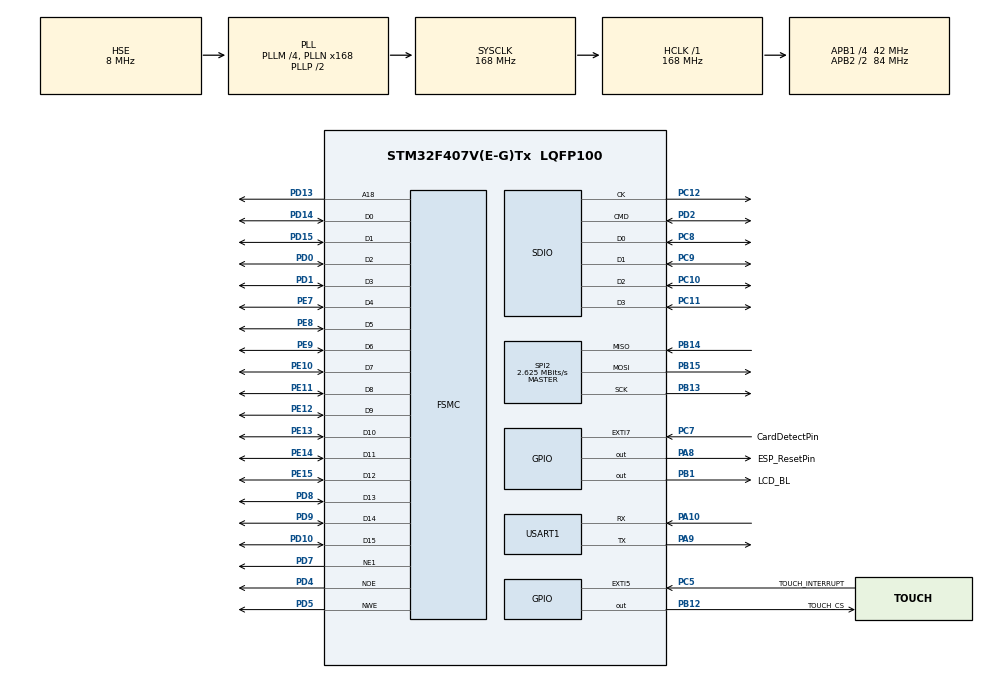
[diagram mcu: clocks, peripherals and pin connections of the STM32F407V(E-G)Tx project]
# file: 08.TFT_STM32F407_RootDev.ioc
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FATFS._FS_EXFAT=1
FATFS._MAX_SS=4096
FATFS._USE_CHMOD=1
FATFS._USE_EXPAND=1
FATFS._USE_FORWARD=1
FATFS._USE_LABEL=1
FATFS._USE_LFN=1
FSMC.AddressSetupTime1=1
FSMC.BusTurnAroundDuration1=0
FSMC.DataSetupTime1=5
Mcu.Family=STM32F4
Mcu.Name=STM32F407V(E-G)Tx
Mcu.Package=LQFP100
NVIC.EXTI9_5_IRQn=true\:0\:0\:true\:false\:true\:true\:true\:true
NVIC.PriorityGroup=NVIC_PRIORITYGROUP_4
NVIC.SDIO_IRQn=true\:0\:0\:false\:false\:true\:true\:true\:true
NVIC.TIM3_IRQn=true\:0\:0\:false\:false\:true\:true\:true\:true
NVIC.USART1_IRQn=true\:0\:0\:true\:false\:true\:true\:true\:true
PA10.Mode=Asynchronous
PA10.Signal=USART1_RX
PA13.Mode=JTAG_4_pins
PA13.Signal=SYS_JTMS-SWDIO
PA14.Mode=JTAG_4_pins
PA14.Signal=SYS_JTCK-SWCLK
PA15.Mode=JTAG_4_pins
PA15.Signal=SYS_JTDI
PA8.GPIO_Label=ESP_ResetPin
PA8.GPIO_PuPd=GPIO_PULLUP
PA8.Signal=GPIO_Output
PA9.Mode=Asynchronous
PA9.Signal=USART1_TX
PB1.GPIO_Label=LCD_BL
PB1.PinState=GPIO_PIN_SET
PB1.Signal=GPIO_Output
PB12.GPIO_Label=TOUCH_CS
PB12.PinState=GPIO_PIN_SET
PB12.Signal=GPIO_Output
PB13.Mode=Full_Duplex_Master
PB13.Signal=SPI2_SCK
PB14.Mode=Full_Duplex_Master
PB14.Signal=SPI2_MISO
PB15.Mode=Full_Duplex_Master
PB15.Signal=SPI2_MOSI
PB3.Mode=JTAG_4_pins
PB3.Signal=SYS_JTDO-SWO
PC10.Mode=SD_4_bits_Wide_bus
PC10.Signal=SDIO_D2
PC11.Mode=SD_4_bits_Wide_bus
PC11.Signal=SDIO_D3
PC12.Mode=SD_4_bits_Wide_bus
PC12.Signal=SDIO_CK
PC5.GPIO_Label=TOUCH_INTERRUPT
PC5.GPIO_ModeDefaultEXTI=GPIO_MODE_IT_FALLING
PC5.Signal=GPXTI5
PC7.GPIO_Label=CardDetectPin
PC7.Signal=GPXTI7
PC8.Mode=SD_4_bits_Wide_bus
PC8.Signal=SDIO_D0
PC9.Mode=SD_4_bits_Wide_bus
PC9.Signal=SDIO_D1
PD0.Mode=16b-d1
PD0.Signal=FSMC_D2
PD1.Mode=16b-d1
PD1.Signal=FSMC_D3
PD10.Mode=16b-d1
PD10.Signal=FSMC_D15
PD13.Mode=A18_1
PD13.Signal=FSMC_A18
PD14.Mode=16b-d1
PD14.Signal=FSMC_D0
PD15.Mode=16b-d1
PD15.Signal=FSMC_D1
PD2.Mode=SD_4_bits_Wide_bus
PD2.Signal=SDIO_CMD
PD4.Mode=Lcd1
PD4.Signal=FSMC_NOE
PD5.Mode=Lcd1
PD5.Signal=FSMC_NWE
PD7.Mode=NorPsramChipSelect1_1
PD7.Signal=FSMC_NE1
PD8.Mode=16b-d1
PD8.Signal=FSMC_D13
PD9.Mode=16b-d1
PD9.Signal=FSMC_D14
PE10.Mode=16b-d1
PE10.Signal=FSMC_D7
PE11.Mode=16b-d1
PE11.Signal=FSMC_D8
PE12.Mode=16b-d1
PE12.Signal=FSMC_D9
PE13.Mode=16b-d1
PE13.Signal=FSMC_D10
PE14.Mode=16b-d1
PE14.Signal=FSMC_D11
PE15.Mode=16b-d1
PE15.Signal=FSMC_D12
PE7.Mode=16b-d1
PE7.Signal=FSMC_D4
PE8.Mode=16b-d1
PE8.Signal=FSMC_D5
PE9.Mode=16b-d1
PE9.Signal=FSMC_D6
PH0-OSC_IN.Mode=HSE-External-Oscillator
PH0-OSC_IN.Signal=RCC_OSC_IN
PH1-OSC_OUT.Mode=HSE-External-Oscillator
PH1-OSC_OUT.Signal=RCC_OSC_OUT
ProjectManager.HeapSize=0x200
ProjectManager.StackSize=0x400
ProjectManager.TargetToolchain=STM32CubeIDE
RCC.48MHZClocksFreq_Value=24000000
RCC.AHBFreq_Value=168000000
RCC.APB1CLKDivider=RCC_HCLK_DIV4
RCC.APB1Freq_Value=42000000
RCC.APB1TimFreq_Value=84000000
RCC.APB2CLKDivider=RCC_HCLK_DIV2
RCC.APB2Freq_Value=84000000
RCC.APB2TimFreq_Value=168000000
RCC.CortexFreq_Value=168000000
RCC.HCLKFreq_Value=168000000
RCC.HSE_VALUE=8000000
RCC.HSI_VALUE=16000000
RCC.LSE_VALUE=32768
RCC.PLLM=4
RCC.PLLN=168
RCC.PLLQ=14
RCC.PLLSourceVirtual=RCC_PLLSOURCE_HSE
RCC.SYSCLKFreq_VALUE=168000000
RCC.SYSCLKSource=RCC_SYSCLKSOURCE_PLLCLK
RCC.VCOOutputFreq_Value=336000000
SDIO.ClockDiv=2
SPI2.BaudRatePrescaler=SPI_BAUDRATEPRESCALER_16
SPI2.CalculateBaudRate=2.625 MBits/s
SPI2.Direction=SPI_DIRECTION_2LINES
SPI2.Mode=SPI_MODE_MASTER
SPI2.VirtualType=VM_MASTER
TIM3.AutoReloadPreload=TIM_AUTORELOAD_PRELOAD_ENABLE
TIM3.Period=9999
TIM3.Prescaler=8399
USART1.VirtualMode=VM_ASYNC
VP_FATFS_VS_SDIO.Mode=SDIO
VP_TIM3_VS_ClockSourceINT.Mode=Internal
board=custom

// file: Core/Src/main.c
/* USER CODE BEGIN Header */
/**
  ******************************************************************************
  * @file           : main.c
  * @brief          : Main program body
  ******************************************************************************
  * @attention
  *
  * Copyright (c) 2025 STMicroelectronics.
  * All rights reserved.
  *
  * This software is licensed under terms that can be found in the LICENSE file
  * in the root directory of this software component.
  * If no LICENSE file comes with this software, it is provided AS-IS.
  *
  ******************************************************************************
  */
/* USER CODE END Header */
#include "main.h"
#include "fatfs.h"
#include "sdio.h"
#include "spi.h"
#include "tim.h"
#include "usart.h"
#include "gpio.h"
#include "fsmc.h"

/* USER CODE BEGIN Includes */
// pliki naglowkowe musza tu byc z racji na to ze ich deklaracja jest zalezna od includow z main
#include "File_Handling.h"
#include "INI_FileHandling.h"
#include "actions.h"

/* USER CODE END Includes */

/* USER CODE BEGIN PD */
volatile uint8_t ReInitializingCardRequired = 0;

volatile int DisableTimeScreenAfterMS = 20000;
volatile int DisableTimeScreen = 0;
volatile int DisableTimeScreenNOW = 0;

volatile int SendTimeUARTCount = 0;
volatile int SendTimeUARTAfterSec = 5;
/* USER CODE END PD */

void SystemClock_Config(void);

int main(void)
{

  /* USER CODE BEGIN 1 */
	int PointerSensivitySizeDefault = 200;

	int LV_CheckTimeAfterMS = 5;

	int TimeNOW = 0;
	int SendFromTime = 0;
	int LV_FromTime = 0;
  /* USER CODE END 1 */

  /* MCU Configuration--------------------------------------------------------*/

  /* Reset of all peripherals, Initializes the Flash interface and the Systick. */
  HAL_Init();

  /* Configure the system clock */
  SystemClock_Config();

  /* Initialize all configured peripherals */
  MX_GPIO_Init();
  MX_USART1_UART_Init();
  MX_FSMC_Init();
  MX_SDIO_SD_Init();
  MX_SPI2_Init();
  MX_FATFS_Init();
  MX_TIM3_Init();
  /* USER CODE BEGIN 2 */

  DelayInit();

  //lcdInit();
  initTouchScr();

  lv_init();
  lv_port_disp_init();
  lv_port_indev_init();

  LCD_BL_ON();

  if(HAL_GPIO_ReadPin(GPIOC, CardDetectPin_Pin) == GPIO_PIN_RESET)
  {
	CardDetectedInSlot = true;
	InitializeSDCard();
  }

  IniFile config;

  lcdFillRGB(COLOR_BLACK);

  lcdSetOrientation(LCD_ORIENTATION_PORTRAIT);
	if(CardDetectedInSlot)
	{
	 if(Mount_SD("/") == FR_OK)
	  {
		if (Load_INI_File("config.ini", &config) == FR_OK)
		{
			Debug("Plik INI wczytany pomyslnie.");
			HAL_Delay(2000);

			if (Get_INI_Value_As_Int(&config, "DeviceConfig", "ScreenTime", (void*)&DisableTimeScreenAfterMS))
			{
	//			snprintf(debugData, sizeof(debugData),"ScreenTime: %d ms", DisableTimeScreenAfterMS);
	//			Debug(debugData);
			} else
			{
				Debug("Nieprawidlowa wartosc ScreenTime.");
				HAL_Delay(2000);
			}

			if (Get_INI_Value_As_Int(&config, "DeviceConfig", "PointerSensivitySizeDefault", &PointerSensivitySizeDefault))
			{
	//			snprintf(debugData, sizeof(debugData),"PointerSensivitySizeDefault: %d ms", PointerSensivitySizeDefault);
	//			Debug(debugData);
			} else
			{
				Debug("Nieprawidlowa wartosc PointerSensivitySizeDefault.");
				HAL_Delay(2000);
			}

		} else
		{
			Debug("Nie udalo sie wczytac pliku INI.");
			HAL_Delay(3000);
		}

	//	 char *fileData;
	//	  result = Read_File("Test.txt", &fileData);
	//	  if (result == FR_OK)
	//	  {
	//		  lcdDisplayTextWithScrollPage(fileData, 2000, 0,0, COLOR_WHITE, COLOR_BLACK);
	//		  free(fileData);
	//		  fileData = NULL;
	//	  }
	//	  else if (result != FR_OK)
	//	  {
	//		  Send_ToLCDDisplay("ERROR: Failed to read txt file.");
	//		  free(fileData);
	//		  fileData = NULL;
	//	  }
	  }
	  Unmount_SD("/");
	}

  DisableTimeScreen = HAL_GetTick();
  TSInterrupt = 0;

  lcdSetOrientation(LCD_ORIENTATION_LANDSCAPE);
  ui_init();

  /* USER CODE END 2 */

  /* Infinite loop */
  /* USER CODE BEGIN WHILE */
  while (1)
  {

	  DisableTimeScreenNOW = TimeNOW = HAL_GetTick();

	  if(((uint32_t)DisableTimeScreenNOW - DisableTimeScreen) >= DisableTimeScreenAfterMS)
	  {
		  DisableTimeScreen = DisableTimeScreenNOW;
		  LCD_BL_OFF();
	  }
    /* USER CODE END WHILE */

    /* USER CODE BEGIN 3 */
	  //DelayUS(1000);
	if ((uint32_t)(TimeNOW - LV_FromTime) >= LV_CheckTimeAfterMS)
	{
		LV_FromTime = TimeNOW; // Ustaw następny czas startu na bieżący
		lv_timer_handler();
		ui_tick();
	}

  }
  /* USER CODE END 3 */
}

void SystemClock_Config(void)
{
  RCC_OscInitTypeDef RCC_OscInitStruct = {0};
  RCC_ClkInitTypeDef RCC_ClkInitStruct = {0};

  /** Configure the main internal regulator output voltage
  */
  __HAL_RCC_PWR_CLK_ENABLE();
  __HAL_PWR_VOLTAGESCALING_CONFIG(PWR_REGULATOR_VOLTAGE_SCALE1);

  /** Initializes the RCC Oscillators according to the specified parameters
  * in the RCC_OscInitTypeDef structure.
  */
  RCC_OscInitStruct.OscillatorType = RCC_OSCILLATORTYPE_HSE;
  RCC_OscInitStruct.HSEState = RCC_HSE_ON;
  RCC_OscInitStruct.PLL.PLLState = RCC_PLL_ON;
  RCC_OscInitStruct.PLL.PLLSource = RCC_PLLSOURCE_HSE;
  RCC_OscInitStruct.PLL.PLLM = 4;
  RCC_OscInitStruct.PLL.PLLN = 168;
  RCC_OscInitStruct.PLL.PLLP = RCC_PLLP_DIV2;
  RCC_OscInitStruct.PLL.PLLQ = 14;
  if (HAL_RCC_OscConfig(&RCC_OscInitStruct) != HAL_OK)
  {
    Error_Handler();
  }

  /** Initializes the CPU, AHB and APB buses clocks
  */
  RCC_ClkInitStruct.ClockType = RCC_CLOCKTYPE_HCLK|RCC_CLOCKTYPE_SYSCLK
                              |RCC_CLOCKTYPE_PCLK1|RCC_CLOCKTYPE_PCLK2;
  RCC_ClkInitStruct.SYSCLKSource = RCC_SYSCLKSOURCE_PLLCLK;
  RCC_ClkInitStruct.AHBCLKDivider = RCC_SYSCLK_DIV1;
  RCC_ClkInitStruct.APB1CLKDivider = RCC_HCLK_DIV4;
  RCC_ClkInitStruct.APB2CLKDivider = RCC_HCLK_DIV2;

  if (HAL_RCC_ClockConfig(&RCC_ClkInitStruct, FLASH_LATENCY_5) != HAL_OK)
  {
    Error_Handler();
  }
}

/* USER CODE BEGIN 4 */
void HAL_GPIO_EXTI_Callback(uint16_t GPIO_Pin)
{
	switch(GPIO_Pin)
	{
		case TOUCH_INTERRUPT_Pin: //EXTI9_10_IRQHandler(void) {
//			if (TSInterrupt == 0)
//			{
				//HAL_NVIC_DisableIRQ(EXTI9_5_IRQn); // Zablokuj przerwanie EXTI na czas obsługi
				LCD_BL_ON();
				DisableTimeScreen = HAL_GetTick();
				TSInterrupt = 1;
//			}
				//__HAL_GPIO_EXTI_CLEAR_IT(TOUCH_INTERRUPT_Pin);
			break;

		case CardDetectPin_Pin: //EXTI15_10_IRQHandler(void)

			if (HAL_GPIO_ReadPin(GPIOC, CardDetectPin_Pin) == GPIO_PIN_RESET)
			{

				CardDetectedInSlot = true;
				LCD_BL_ON();

				char *buf;
				size_t bufSize;
				// Karta SD została włożona
				char tekst[] ="Karta SD wlozona";
				// Oblicz wymagany rozmiar bufora
	        	bufSize = snprintf(NULL, 0, "%s", tekst) + 1;
	        	buf = malloc(bufSize);
        	    snprintf(buf, bufSize, "%s", tekst);

				ReInitializingCardRequired = 1;

				int cx = lcdGetWidth()  / 2;
				int cy = lcdGetHeight() / 2;
				int tekstLength =strlen(buf);
				lcdSetCursor(cx- ((lcdGetTextFont()->Width*tekstLength )/2 -1), cy);
				lcdSetTextColor(COLOR_WHITE, COLOR_BLACK);
				lcdPrintf(buf);
	    	    free(buf);

				DisableTimeScreen = HAL_GetTick();
			}

			else if (HAL_GPIO_ReadPin(GPIOC, CardDetectPin_Pin) == GPIO_PIN_SET)
			{
				CardDetectedInSlot = false;
				LCD_BL_ON();

				char *buf;
				size_t bufSize;
				// Karta SD została włożona
				char tekst[] ="Karta SD wyjeta";
				// Oblicz wymagany rozmiar bufora
	        	bufSize = snprintf(NULL, 0, "%s", tekst) + 1;
	        	buf = malloc(bufSize);
        	    snprintf(buf, bufSize, "%s", tekst);

				ReInitializingCardRequired = 0;

				int cx = lcdGetWidth()  / 2;
				int cy = lcdGetHeight() / 2;
				int tekstLength =strlen(buf);
				lcdSetCursor(cx- ((lcdGetTextFont()->Width*tekstLength )/2 -1), cy);
				lcdSetTextColor(COLOR_WHITE, COLOR_BLACK);
				lcdPrintf(buf);
	    	    free(buf);

				DisableTimeScreen = HAL_GetTick();
			}

			//__HAL_GPIO_EXTI_CLEAR_FLAG(CardDetectPin_Pin);
    	    break;

	}

//    if (GPIO_Pin == TOUCH_INTERRUPT_Pin)
//    {
//		if (TSInterrupt == 0)
//		{
//			//HAL_NVIC_DisableIRQ(EXTI9_5_IRQn); // Zablokuj przerwanie EXTI na czas obsługi
//			TSInterrupt = 1;
//			LCD_BL_ON();
//			DisableTimeScreen = HAL_GetTick();
//		}
//    }

}
/* USER CODE END 4 */

void Error_Handler(void)
{
  __disable_irq();
  while (1)
  {
  }
}
